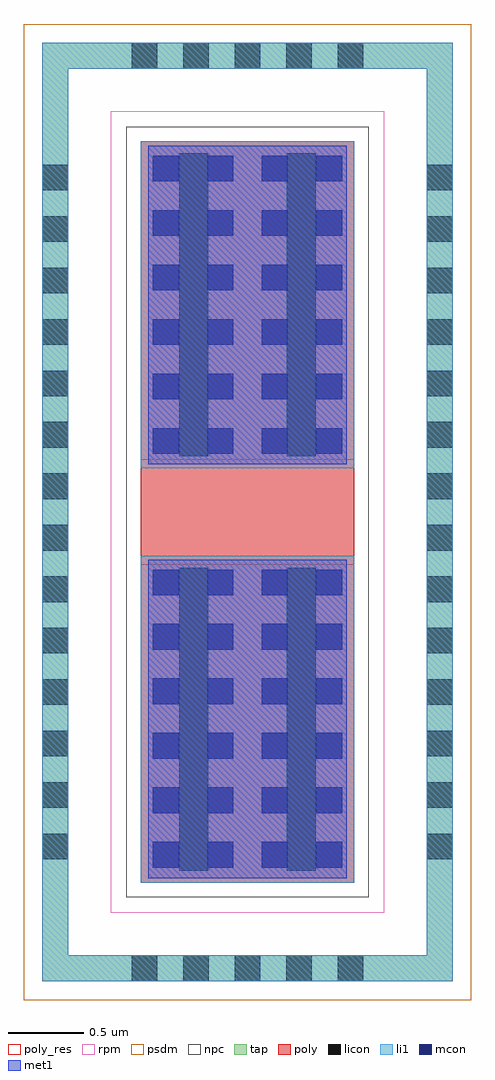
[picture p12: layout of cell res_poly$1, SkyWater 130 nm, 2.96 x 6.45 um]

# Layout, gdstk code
import gdstk
lib = gdstk.Library(unit=1e-6, precision=5e-09)
def R(c, l, rs):  # rectangles x0, y0, x1, y1
    for r in rs: c.add(gdstk.rectangle(r[:2], r[2:], *l))
def A(c, l, x, y, w, h, nx, ny, dx, dy):  # array of equal rectangles
    R(c, l, [(x+i*dx, y+j*dy, x+i*dx+w, y+j*dy+h) for i in range(nx) for j in range(ny)])
tap = (65, 44)
poly_res = (66, 13)
poly = (66, 20)
licon = (66, 44)
li1 = (67, 20)
mcon = (67, 44)
met1 = (68, 20)
rpm = (86, 20)
psdm = (94, 20)
npc = (95, 20)

res_poly_1 = lib.new_cell('res_poly$1')
R(res_poly_1, tap, [(-1.355,-3.1,1.355,-2.93), (-1.355,-2.93,-1.185,2.93), (1.185,-2.93,1.355,2.93), (-1.355,2.93,1.355,3.1)])
R(res_poly_1, poly_res, [(-0.705,-0.35,0.705,0.35)])
R(res_poly_1, poly, [(-0.705,-2.45,0.705,2.45)])
A(res_poly_1, licon, -0.765, -3.1, 0.17, 0.17, 5, 2, 0.34, 6.03)
A(res_poly_1, licon, -1.355, -2.295, 0.17, 0.17, 1, 14, 0, 0.34)
A(res_poly_1, licon, 1.185, -2.295, 0.17, 0.17, 1, 14, 0, 0.34)
R(res_poly_1, licon, [(-0.45,-2.37,-0.26,-0.37), (0.26,-2.37,0.45,-0.37), (-0.45,0.37,-0.26,2.37), (0.26,0.37,0.45,2.37)])
R(res_poly_1, li1, [(-1.355,-3.1,1.355,-2.93), (-1.355,-2.93,-1.185,2.93), (1.185,-2.93,1.355,2.93), (-0.705,-2.45,0.705,-0.29), (-0.705,0.29,0.705,2.45), (-1.355,2.93,1.355,3.1)])
A(res_poly_1, mcon, -0.625, -2.35, 0.17, 0.17, 4, 6, 0.36, 0.36)
A(res_poly_1, mcon, -0.625, 0.385, 0.17, 0.17, 4, 6, 0.36, 0.36)
R(res_poly_1, met1, [(-0.655,-2.42,0.655,-0.315), (-0.655,0.315,0.655,2.42)])
R(res_poly_1, rpm, [(-0.905,-2.65,0.905,2.65)])
R(res_poly_1, psdm, [(-1.48,-3.225,1.48,3.225)])
R(res_poly_1, npc, [(-0.8,-2.545,0.8,2.545)])

lib.write_gds('res_poly_1.gds')
